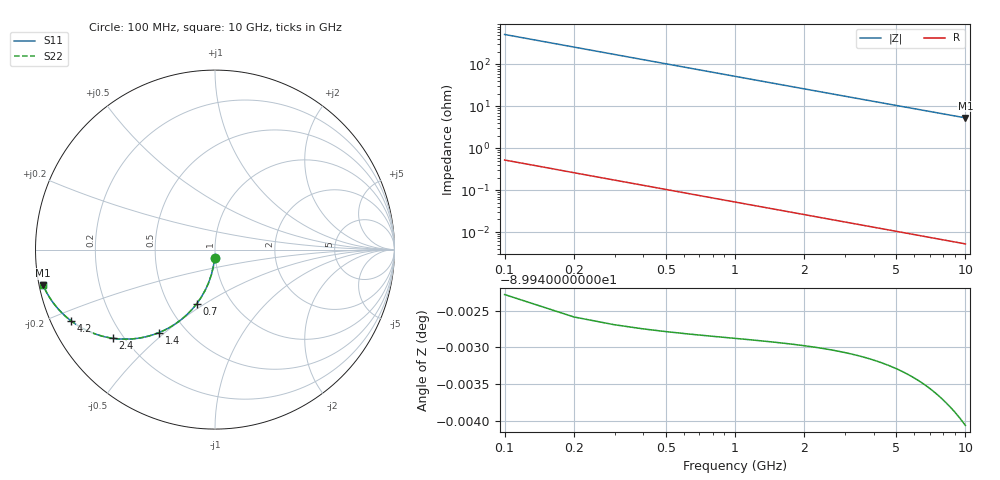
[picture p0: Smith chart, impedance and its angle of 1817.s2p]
# Hz S RI R 50.00
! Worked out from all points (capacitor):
!   100 points, 100 MHz to 10 GHz, reference 50 ohm
!   read as one part in shunt: C = 3.06 pF near 100 MHz
!   lowest |Z| = 5.32 ohm at 10 GHz (marker M1)
!   S11 on the Smith chart (normalised r, x): 100 MHz: 0.99, -0.10; 700 MHz: 0.69, -0.46; 1.4 GHz: 0.36, -0.48; 2.4 GHz: 0.16, -0.37; 4.2 GHz: 0.06, -0.23; 10 GHz: 0.01, -0.10
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1e8  -0.00235 -0.0479  0.9976 -0.048  0.9976 -0.048  -0.00235 -0.0479
2e8  -0.00925 -0.0952  0.9907 -0.0953  0.9907 -0.0953  -0.00925 -0.0952
3e8  -0.0205 -0.1412  0.9795 -0.1413  0.9795 -0.1413  -0.0205 -0.1412
4e8  -0.0358 -0.1852  0.9642 -0.1854  0.9642 -0.1854  -0.0358 -0.1852
5e8  -0.0548 -0.2269  0.9452 -0.2272  0.9452 -0.2272  -0.0548 -0.2269
6e8  -0.0769 -0.2659  0.9231 -0.2661  0.9231 -0.2661  -0.0769 -0.2659
7e8  -0.1018 -0.3017  0.8982 -0.3021  0.8982 -0.3021  -0.1018 -0.3017
8e8  -0.1289 -0.3344  0.8711 -0.3347  0.8711 -0.3347  -0.1289 -0.3344
1e9  -0.1875 -0.3896  0.8125 -0.39  0.8125 -0.39  -0.1875 -0.3896
1.2e9  -0.2491 -0.4318  0.7508 -0.4323  0.7508 -0.4323  -0.2491 -0.4318
1.4e9  -0.3108 -0.462  0.6892 -0.4627  0.6892 -0.4627  -0.3108 -0.462
1.8e9  -0.4265 -0.4937  0.5735 -0.4945  0.5735 -0.4945  -0.4265 -0.4937
2.1e9  -0.5026 -0.499  0.4974 -0.5  0.4974 -0.5  -0.5026 -0.499
2.4e9  -0.5685 -0.4942  0.4315 -0.4953  0.4315 -0.4953  -0.5685 -0.4942
2.9e9  -0.6574 -0.4734  0.3426 -0.4747  0.3426 -0.4747  -0.6574 -0.4734
3.4e9  -0.7246 -0.4454  0.2754 -0.447  0.2754 -0.447  -0.7246 -0.4454
4.2e9  -0.8001 -0.3984  0.1999 -0.4004  0.1999 -0.4004  -0.8001 -0.3984
5.1e9  -0.8548 -0.3506  0.1452 -0.353  0.1452 -0.353  -0.8548 -0.3506
5.8e9  -0.8837 -0.3187  0.1163 -0.3214  0.1163 -0.3214  -0.8837 -0.3187
6.7e9  -0.9101 -0.284  0.0899 -0.2871  0.0899 -0.2871  -0.9101 -0.284
8.4e9  -0.9408 -0.2336  0.0592 -0.2375  0.0592 -0.2375  -0.9408 -0.2336
1e10  -0.9574 -0.199  0.0425 -0.2037  0.0425 -0.2037  -0.9574 -0.199
